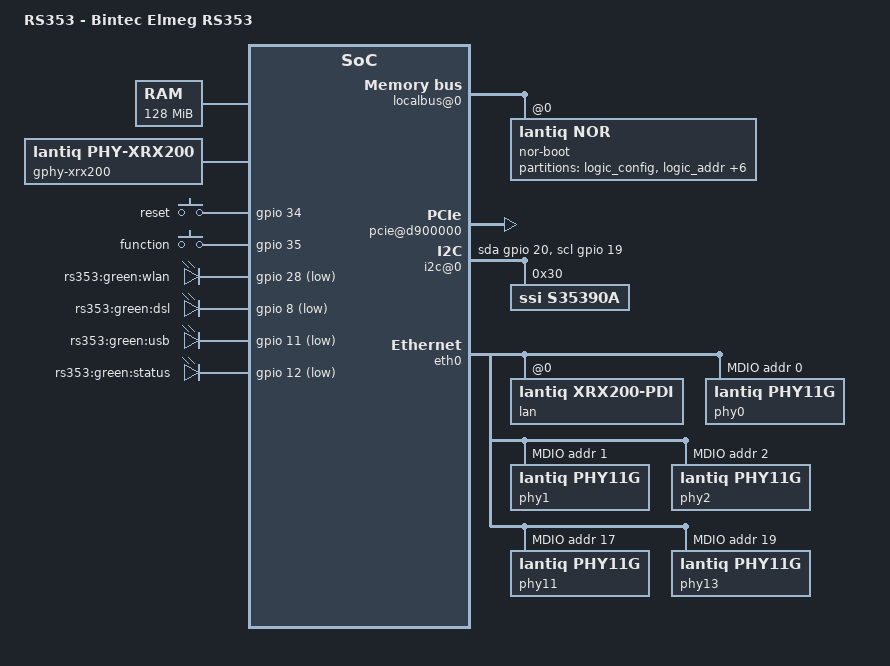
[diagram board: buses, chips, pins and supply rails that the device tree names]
/dts-v1/;

/include/ "vr9.dtsi"

/ {
	model = "RS353 - Bintec Elmeg RS353";

	chosen {
		bootargs = "console=ttyLTQ0,115200 init=/etc/preinit";
		leds {
			running = &status;
			boot = &status;
			wifi = &wlan;
			usb2 = &usb; /* Front port is mapped to device 2 */
			dsl = &dsl;
		};
	};

	memory@0 {
		reg = <0x0 0x8000000>;
	};

	fpi@10000000 {
		localbus@0 {
			nor-boot@0 {
				compatible = "lantiq,nor";
				bank-width = <2>;
				reg = <0 0x0 0x2000000>;
				#address-cells = <1>;
				#size-cells = <1>;

				partitions {
					compatible = "fixed-partitions";
					#address-cells = <1>;
					#size-cells = <1>;

					boardconfig: partition@0 {
						label = "logic_config";
						reg = <0x0 0x20000>;
						read-only;
					};

					partition@0x20000 {
						label = "logic_addr";
						reg = <0x20000 0x20000>;
						read-only;
					};

					partition@0x40000 {
						label = "bootmonitor";
						reg = <0x40000 0x20000>;
						read-only;
					};

					partition@0x80000 {
						label = "flash_config";
						reg = <0x80000 0x40000>;
						read-only;
					};

					partition@0xc0000 {
						label = "uboot";
						reg = <0xc0000 0x40000>;
					};

					partition@0x100000 {
						label = "uboot-env";
						reg = <0x100000 0x20000>;
					};
					
					partition@0x120000 {
						label = "firmware";
						reg = <0x120000 0x1EC0000>;
					};

					partition@0x1FE0000 {
						label = "GPHY_CPR";
						reg = <0x1FE0000 0x20000>;
					};
				};
			};
		};

		gpio: pinmux@E100B10 {
			pinctrl-names = "default";
			pinctrl-0 = <&state_default>;

			state_default: pinmux {
				mdio {
					lantiq,groups = "mdio";
					lantiq,function = "mdio";
				};
				i2c {
				 	lantiq,pins = "io19", "io20"; /* port i2c */
				 	lantiq,open-drain;
				 	lantiq,pull = <2>;
				};
				gphy-leds {
					lantiq,groups = "gphy0 led0", "gphy0 led1",
					"gphy0 led2", "gphy1 led0",
					"gphy1 led1", "gphy1 led2";
					lantiq,function = "gphy";
					lantiq,pull = <2>;
					lantiq,open-drain = <0>;
					lantiq,output = <1>;
				};
			};
		};

		ifxhcd@E101000 {
			status = "okay";
		};

		ifxhcd@E106000 {
			status = "okay";
		};

		pcie@d900000 {
			status = "okay";
			gpio-reset = <&gpio 18 0>;
		};
	};

	i2c@0 {
		compatible = "i2c-gpio";
		gpios = <&gpio 20 0 /* sda */
	 		&gpio 19 0 /* scl */
			>;
		i2c-gpio,delay-us = <2>;	/* ~100 kHz */
		
		#address-cells = <1>;
		#size-cells = <0>;
		s35390a: s35390a@30 {
			compatible = "ssi,s35390a";
			reg = <0x30>;
		};
	};

	gphy-xrx200 {
		compatible = "lantiq,phy-xrx200";
		firmware1 = "lantiq/vr9_phy11g_a1x.bin";	/*VR9 1.1*/
		firmware2 = "lantiq/vr9_phy11g_a2x.bin";	/*VR9 1.2*/
		phys = [ 00 01 ];
	};

	gpio-keys-polled {
		compatible = "gpio-keys-polled";
		#address-cells = <1>;
		#size-cells = <0>;
		poll-interval = <100>;

		reset {
			label = "reset";
			gpios = <&gpio 34 0>;
			linux,code = <0x198>;
		};
		function {
			label = "function";
			gpios = <&gpio 35 0>;
			linux,code = <0x100>; /*BTN_0*/
		};
	};

	gpio-leds {
		compatible = "gpio-leds";

		wlan: wlan {
			label = "rs353:green:wlan";
			gpios = <&gpio 28 1>;
		};

		dsl: dsl {
			label = "rs353:green:dsl";
			gpios = <&gpio 8 1>;
		};

		usb: usb {
			label = "rs353:green:usb";
			gpios = <&gpio 11 1>;
		};

		status: status {
			label = "rs353:green:status";
			gpios = <&gpio 12 1>;
		};
	};
};

&eth0 {
	lan: interface@0 {
		compatible = "lantiq,xrx200-pdi";
		#address-cells = <1>;
		#size-cells = <0>;
		reg = <0>;
		mac-address = [ 00 11 22 33 44 55 ];
		lantiq,switch;

		ethernet@4 {
			compatible = "lantiq,xrx200-pdi-port";
			reg = <4>;
			phy-mode = "gmii";
			phy-handle = <&phy13>;
		};

		ethernet@5 {
			compatible = "lantiq,xrx200-pdi-port";
			reg = <2>;
			phy-mode = "gmii";
			phy-handle = <&phy11>;
		};

		ethernet@1 {
			compatible = "lantiq,xrx200-pdi-port";
			reg = <1>;
			phy-mode = "rgmii";
			phy-handle = <&phy0>;
		};

		ethernet@0 {
			compatible = "lantiq,xrx200-pdi-port";
			reg = <0>;
			phy-mode = "rgmii";
			phy-handle = <&phy1>;
		};

		ethernet@3 {
			compatible = "lantiq,xrx200-pdi-port";
			reg = <5>;
			phy-mode = "rgmii";
			phy-handle = <&phy2>;
		};
	};

	mdio@0 {
		#address-cells = <1>;
		#size-cells = <0>;
		compatible = "lantiq,xrx200-mdio";
		phy0: ethernet-phy@0 {
			reg = <0x0>;
			compatible = "lantiq,phy11g", "ethernet-phy-ieee802.3-c22";
			lantiq,led0h = <0x20>;
			lantiq,led0l = <0x00>;
			lantiq,led1h = <0x40>;
			lantiq,led1l = <0x00>;
			lantiq,led2h = <0x70>;
			lantiq,led2l = <0x03>;
		};
		phy1: ethernet-phy@1 {
			reg = <0x1>;
			compatible = "lantiq,phy11g", "ethernet-phy-ieee802.3-c22";
			lantiq,led0h = <0x20>;
			lantiq,led0l = <0x00>;
			lantiq,led1h = <0x40>;
			lantiq,led1l = <0x00>;
			lantiq,led2h = <0x70>;
			lantiq,led2l = <0x03>;
		};
		phy2: ethernet-phy@2 {
			reg = <0x2>;
			compatible = "lantiq,phy11g", "ethernet-phy-ieee802.3-c22";
			lantiq,led0h = <0x20>;
			lantiq,led0l = <0x00>;
			lantiq,led1h = <0x40>;
			lantiq,led1l = <0x00>;
			lantiq,led2h = <0x70>;
			lantiq,led2l = <0x03>;
		};
		phy11: ethernet-phy@11 {
			reg = <0x11>;
			compatible = "lantiq,phy11g", "ethernet-phy-ieee802.3-c22";
			lantiq,led0h = <0x20>;
			lantiq,led0l = <0x00>;
			lantiq,led1h = <0x40>;
			lantiq,led1l = <0x00>;
			lantiq,led2h = <0x70>;
			lantiq,led2l = <0x03>;
		};
		phy13: ethernet-phy@13 {
			reg = <0x13>;
			compatible = "lantiq,phy11g", "ethernet-phy-ieee802.3-c22";
			lantiq,led0h = <0x20>;
			lantiq,led0l = <0x00>;
			lantiq,led1h = <0x40>;
			lantiq,led1l = <0x00>;
			lantiq,led2h = <0x70>;
			lantiq,led2l = <0x03>;
		};
	};
};
